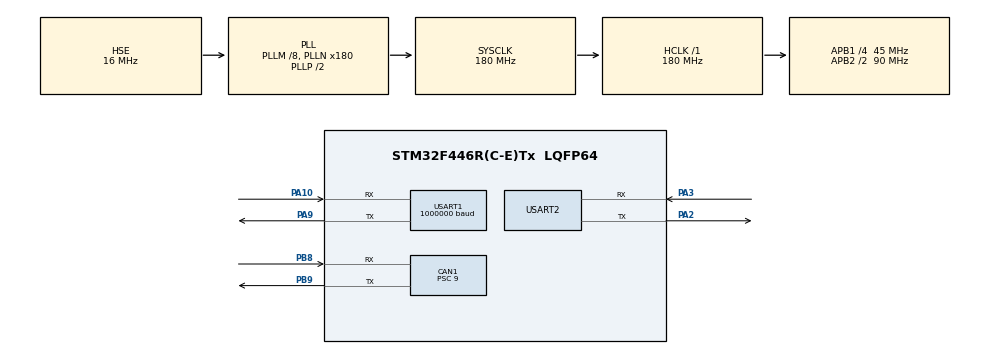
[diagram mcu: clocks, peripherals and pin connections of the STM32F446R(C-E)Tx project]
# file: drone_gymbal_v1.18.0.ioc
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CAN1.BS1=CAN_BS1_3TQ
CAN1.CalculateTimeBit=1000
CAN1.CalculateTimeQuantum=200.0
CAN1.Prescaler=9
Mcu.Family=STM32F4
Mcu.Name=STM32F446R(C-E)Tx
Mcu.Package=LQFP64
NVIC.CAN1_RX0_IRQn=true\:0\:0\:false\:false\:true\:true
NVIC.PriorityGroup=NVIC_PRIORITYGROUP_4
NVIC.RCC_IRQn=true\:0\:0\:false\:false\:true\:true
NVIC.TIM6_DAC_IRQn=true\:0\:0\:false\:false\:true\:true
NVIC.TIM7_IRQn=true\:0\:0\:false\:false\:true\:true
NVIC.USART1_IRQn=true\:0\:0\:false\:false\:true\:true
NVIC.USART2_IRQn=true\:0\:0\:false\:false\:true\:true
PA10.Mode=Asynchronous
PA10.Signal=USART1_RX
PA13.Mode=Serial_Wire
PA13.Signal=SYS_JTMS-SWDIO
PA14.Mode=Serial_Wire
PA14.Signal=SYS_JTCK-SWCLK
PA2.Mode=Asynchronous
PA2.Signal=USART2_TX
PA3.Mode=Asynchronous
PA3.Signal=USART2_RX
PA9.Mode=Asynchronous
PA9.Signal=USART1_TX
PB8.Mode=Master
PB8.Signal=CAN1_RX
PB9.Mode=Master
PB9.Signal=CAN1_TX
PH0-OSC_IN.Mode=HSE-External-Oscillator
PH0-OSC_IN.Signal=RCC_OSC_IN
PH1-OSC_OUT.Mode=HSE-External-Oscillator
PH1-OSC_OUT.Signal=RCC_OSC_OUT
ProjectManager.HeapSize=0x200
ProjectManager.StackSize=0x400
ProjectManager.TargetToolchain=TrueSTUDIO
RCC.AHBFreq_Value=180000000
RCC.APB1CLKDivider=RCC_HCLK_DIV4
RCC.APB1Freq_Value=45000000
RCC.APB1TimFreq_Value=90000000
RCC.APB2CLKDivider=RCC_HCLK_DIV2
RCC.APB2Freq_Value=90000000
RCC.APB2TimFreq_Value=180000000
RCC.CortexFreq_Value=180000000
RCC.HCLKFreq_Value=180000000
RCC.HSE_VALUE=16000000
RCC.PLLM=8
RCC.PLLN=180
RCC.PLLSourceVirtual=RCC_PLLSOURCE_HSE
RCC.SYSCLKFreq_VALUE=180000000
RCC.SYSCLKSource=RCC_SYSCLKSOURCE_PLLCLK
RCC.USBFreq_Value=180000000
RCC.VCOOutputFreq_Value=360000000
TIM6.Period=9
TIM6.Prescaler=89
TIM7.Period=4000
TIM7.Prescaler=900
USART1.BaudRate=1000000
USART1.VirtualMode=VM_ASYNC
USART2.VirtualMode=VM_ASYNC
VP_TIM6_VS_ClockSourceINT.Mode=Enable_Timer
VP_TIM7_VS_ClockSourceINT.Mode=Enable_Timer
board=_00_capstone

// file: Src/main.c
/**
  ******************************************************************************
  * File Name          : main.c
  * Description        : Main program body
  ******************************************************************************
  ** This notice applies to any and all portions of this file
  * that are not between comment pairs USER CODE BEGIN and
  * USER CODE END. Other portions of this file, whether
  * inserted by the user or by software development tools
  * are owned by their respective copyright owners.
  *
  * COPYRIGHT(c) 2019 STMicroelectronics
  *
  * Redistribution and use in source and binary forms, with or without modification,
  * are permitted provided that the following conditions are met:
  *   1. Redistributions of source code must retain the above copyright notice,
  *      this list of conditions and the following disclaimer.
  *   2. Redistributions in binary form must reproduce the above copyright notice,
  *      this list of conditions and the following disclaimer in the documentation
  *      and/or other materials provided with the distribution.
  *   3. Neither the name of STMicroelectronics nor the names of its contributors
  *      may be used to endorse or promote products derived from this software
  *      without specific prior written permission.
  *
  * THIS SOFTWARE IS PROVIDED BY THE COPYRIGHT HOLDERS AND CONTRIBUTORS "AS IS"
  * AND ANY EXPRESS OR IMPLIED WARRANTIES, INCLUDING, BUT NOT LIMITED TO, THE
  * IMPLIED WARRANTIES OF MERCHANTABILITY AND FITNESS FOR A PARTICULAR PURPOSE ARE
  * DISCLAIMED. IN NO EVENT SHALL THE COPYRIGHT HOLDER OR CONTRIBUTORS BE LIABLE
  * FOR ANY DIRECT, INDIRECT, INCIDENTAL, SPECIAL, EXEMPLARY, OR CONSEQUENTIAL
  * DAMAGES (INCLUDING, BUT NOT LIMITED TO, PROCUREMENT OF SUBSTITUTE GOODS OR
  * SERVICES; LOSS OF USE, DATA, OR PROFITS; OR BUSINESS INTERRUPTION) HOWEVER
  * CAUSED AND ON ANY THEORY OF LIABILITY, WHETHER IN CONTRACT, STRICT LIABILITY,
  * OR TORT (INCLUDING NEGLIGENCE OR OTHERWISE) ARISING IN ANY WAY OUT OF THE USE
  * OF THIS SOFTWARE, EVEN IF ADVISED OF THE POSSIBILITY OF SUCH DAMAGE.
  *
  ******************************************************************************
  */

#include "main.h"
#include "stm32f4xx_hal.h"
#include "MW-AHRSv1.h"

/* USER CODE BEGIN Includes */

#define AX_WRITE_DATA  3
/* USER CODE END Includes */

CAN_HandleTypeDef hcan1;

TIM_HandleTypeDef htim6;
TIM_HandleTypeDef htim7;

UART_HandleTypeDef huart1;
UART_HandleTypeDef huart2;

/* USER CODE BEGIN PV */
/* Private variables ---------------------------------------------------------*/
CanTxMsgTypeDef txMessage;
CanRxMsgTypeDef rxMessage;

MW_AHRS ahrs_obj = {0, };

/* USER CODE END PV */

void SystemClock_Config(void);
static void MX_GPIO_Init(void);
static void MX_CAN1_Init(void);
static void MX_TIM6_Init(void);
static void MX_TIM7_Init(void);
static void MX_USART1_UART_Init(void);
static void MX_USART2_UART_Init(void);

/* USER CODE BEGIN PFP */
/* Private function prototypes -----------------------------------------------*/
void can1_tx(void);
void can_init_user(void);

void mw_ahrsv1_trans(void);
void mw_ahrsv1_rcv(void);

void ax12_SetRegister(uint8_t id, uint8_t regstart, uint16_t data);
uint8_t sendData[100] = { 0, };

float yaw_data;
float roll_data;
float pitch_data;
/* USER CODE END PFP */

int main(void)
{

  /* MCU Configuration----------------------------------------------------------*/

  /* Reset of all peripherals, Initializes the Flash interface and the Systick. */
  HAL_Init();

  /* Configure the system clock */
  SystemClock_Config();

  /* Initialize all configured peripherals */
  MX_GPIO_Init();
  MX_CAN1_Init();
  MX_TIM6_Init();
  MX_TIM7_Init();
  MX_USART1_UART_Init();
  MX_USART2_UART_Init();

  /* USER CODE BEGIN 2 */
  /* can filter settting */
  can_init_user();

  /* mw-ahrsv1 start function */
  mw_ahrsv1_trans();

  HAL_CAN_Receive_IT(&hcan1, CAN_FIFO0);

  uint32_t now_tick = 0;
  uint32_t past_tick = 0;
  /* USER CODE END 2 */

  /* Infinite loop */
  while (1)
  {

  /* USER CODE BEGIN 3 */

		yaw_data = ahrs_obj.e_yaw;
		if(yaw_data <= -150){
			yaw_data = -150;
		}
		else if(yaw_data >= 200){
			yaw_data = 200;
		}

		roll_data = ahrs_obj.e_roll;
		if(roll_data <= -150){
			roll_data = -150;
		}
		else if(roll_data >= 200){
			roll_data = 200;
		}

		pitch_data = ahrs_obj.e_pitch;
		if(pitch_data <= -150){
			pitch_data = -150;
		}
		else if(pitch_data >= 200){
			pitch_data = 200;
		}

		ax12_SetRegister(1, 30, 512-(yaw_data*3.4));
		HAL_UART_Transmit(&huart1, sendData, 9, 0xFF);
		ax12_SetRegister(1, 32, 512);
		HAL_UART_Transmit(&huart1, sendData, 9, 0xFF);

		ax12_SetRegister(3, 30, 512-(roll_data*3.4));
		HAL_UART_Transmit(&huart1, sendData, 9, 0xFF);
		ax12_SetRegister(3, 32, 150);
		HAL_UART_Transmit(&huart1, sendData, 9, 0xFF);

		ax12_SetRegister(2, 30, 512+(pitch_data*3.4));
		HAL_UART_Transmit(&huart1, sendData, 9, 0xFF);
		ax12_SetRegister(2, 32, 150);
		HAL_UART_Transmit(&huart1, sendData, 9, 0xFF);

	  now_tick = HAL_GetTick();
	  if(now_tick - past_tick >= 1000)
	  {
		  //1 sec

		  past_tick = now_tick;
	  }
  }
  /* USER CODE END 3 */

}

/** System Clock Configuration
*/
void SystemClock_Config(void)
{

  RCC_OscInitTypeDef RCC_OscInitStruct;
  RCC_ClkInitTypeDef RCC_ClkInitStruct;

    /**Configure the main internal regulator output voltage
    */
  __HAL_RCC_PWR_CLK_ENABLE();

  __HAL_PWR_VOLTAGESCALING_CONFIG(PWR_REGULATOR_VOLTAGE_SCALE1);

    /**Initializes the CPU, AHB and APB busses clocks
    */
  RCC_OscInitStruct.OscillatorType = RCC_OSCILLATORTYPE_HSE;
  RCC_OscInitStruct.HSEState = RCC_HSE_ON;
  RCC_OscInitStruct.PLL.PLLState = RCC_PLL_ON;
  RCC_OscInitStruct.PLL.PLLSource = RCC_PLLSOURCE_HSE;
  RCC_OscInitStruct.PLL.PLLM = 8;
  RCC_OscInitStruct.PLL.PLLN = 180;
  RCC_OscInitStruct.PLL.PLLP = RCC_PLLP_DIV2;
  RCC_OscInitStruct.PLL.PLLQ = 2;
  RCC_OscInitStruct.PLL.PLLR = 2;
  if (HAL_RCC_OscConfig(&RCC_OscInitStruct) != HAL_OK)
  {
    _Error_Handler(__FILE__, __LINE__);
  }

    /**Activate the Over-Drive mode
    */
  if (HAL_PWREx_EnableOverDrive() != HAL_OK)
  {
    _Error_Handler(__FILE__, __LINE__);
  }

    /**Initializes the CPU, AHB and APB busses clocks
    */
  RCC_ClkInitStruct.ClockType = RCC_CLOCKTYPE_HCLK|RCC_CLOCKTYPE_SYSCLK
                              |RCC_CLOCKTYPE_PCLK1|RCC_CLOCKTYPE_PCLK2;
  RCC_ClkInitStruct.SYSCLKSource = RCC_SYSCLKSOURCE_PLLCLK;
  RCC_ClkInitStruct.AHBCLKDivider = RCC_SYSCLK_DIV1;
  RCC_ClkInitStruct.APB1CLKDivider = RCC_HCLK_DIV4;
  RCC_ClkInitStruct.APB2CLKDivider = RCC_HCLK_DIV2;

  if (HAL_RCC_ClockConfig(&RCC_ClkInitStruct, FLASH_LATENCY_5) != HAL_OK)
  {
    _Error_Handler(__FILE__, __LINE__);
  }

    /**Configure the Systick interrupt time
    */
  HAL_SYSTICK_Config(HAL_RCC_GetHCLKFreq()/1000);

    /**Configure the Systick
    */
  HAL_SYSTICK_CLKSourceConfig(SYSTICK_CLKSOURCE_HCLK);

  /* SysTick_IRQn interrupt configuration */
  HAL_NVIC_SetPriority(SysTick_IRQn, 0, 0);
}

/* CAN1 init function */
static void MX_CAN1_Init(void)
{

  hcan1.Instance = CAN1;
  hcan1.Init.Prescaler = 9;
  hcan1.Init.Mode = CAN_MODE_NORMAL;
  hcan1.Init.SJW = CAN_SJW_1TQ;
  hcan1.Init.BS1 = CAN_BS1_3TQ;
  hcan1.Init.BS2 = CAN_BS2_1TQ;
  hcan1.Init.TTCM = DISABLE;
  hcan1.Init.ABOM = DISABLE;
  hcan1.Init.AWUM = DISABLE;
  hcan1.Init.NART = DISABLE;
  hcan1.Init.RFLM = DISABLE;
  hcan1.Init.TXFP = DISABLE;
  if (HAL_CAN_Init(&hcan1) != HAL_OK)
  {
    _Error_Handler(__FILE__, __LINE__);
  }

}

/* TIM6 init function */
static void MX_TIM6_Init(void)
{

  TIM_MasterConfigTypeDef sMasterConfig;

  htim6.Instance = TIM6;
  htim6.Init.Prescaler = 89;
  htim6.Init.CounterMode = TIM_COUNTERMODE_UP;
  htim6.Init.Period = 9;
  if (HAL_TIM_Base_Init(&htim6) != HAL_OK)
  {
    _Error_Handler(__FILE__, __LINE__);
  }

  sMasterConfig.MasterOutputTrigger = TIM_TRGO_RESET;
  sMasterConfig.MasterSlaveMode = TIM_MASTERSLAVEMODE_DISABLE;
  if (HAL_TIMEx_MasterConfigSynchronization(&htim6, &sMasterConfig) != HAL_OK)
  {
    _Error_Handler(__FILE__, __LINE__);
  }

}

/* TIM7 init function */
static void MX_TIM7_Init(void)
{

  TIM_MasterConfigTypeDef sMasterConfig;

  htim7.Instance = TIM7;
  htim7.Init.Prescaler = 900;
  htim7.Init.CounterMode = TIM_COUNTERMODE_UP;
  htim7.Init.Period = 4000;
  if (HAL_TIM_Base_Init(&htim7) != HAL_OK)
  {
    _Error_Handler(__FILE__, __LINE__);
  }

  sMasterConfig.MasterOutputTrigger = TIM_TRGO_RESET;
  sMasterConfig.MasterSlaveMode = TIM_MASTERSLAVEMODE_DISABLE;
  if (HAL_TIMEx_MasterConfigSynchronization(&htim7, &sMasterConfig) != HAL_OK)
  {
    _Error_Handler(__FILE__, __LINE__);
  }

}

/* USART1 init function */
static void MX_USART1_UART_Init(void)
{

  huart1.Instance = USART1;
  huart1.Init.BaudRate = 1000000;
  huart1.Init.WordLength = UART_WORDLENGTH_8B;
  huart1.Init.StopBits = UART_STOPBITS_1;
  huart1.Init.Parity = UART_PARITY_NONE;
  huart1.Init.Mode = UART_MODE_TX_RX;
  huart1.Init.HwFlowCtl = UART_HWCONTROL_NONE;
  huart1.Init.OverSampling = UART_OVERSAMPLING_16;
  if (HAL_UART_Init(&huart1) != HAL_OK)
  {
    _Error_Handler(__FILE__, __LINE__);
  }

}

/* USART2 init function */
static void MX_USART2_UART_Init(void)
{

  huart2.Instance = USART2;
  huart2.Init.BaudRate = 115200;
  huart2.Init.WordLength = UART_WORDLENGTH_8B;
  huart2.Init.StopBits = UART_STOPBITS_1;
  huart2.Init.Parity = UART_PARITY_NONE;
  huart2.Init.Mode = UART_MODE_TX_RX;
  huart2.Init.HwFlowCtl = UART_HWCONTROL_NONE;
  huart2.Init.OverSampling = UART_OVERSAMPLING_16;
  if (HAL_UART_Init(&huart2) != HAL_OK)
  {
    _Error_Handler(__FILE__, __LINE__);
  }

}

/** Configure pins as
        * Analog
        * Input
        * Output
        * EVENT_OUT
        * EXTI
*/
static void MX_GPIO_Init(void)
{

  /* GPIO Ports Clock Enable */
  __HAL_RCC_GPIOH_CLK_ENABLE();
  __HAL_RCC_GPIOA_CLK_ENABLE();
  __HAL_RCC_GPIOB_CLK_ENABLE();

}

/* USER CODE BEGIN 4 */
void ax12_SetRegister(uint8_t id, uint8_t regstart, uint16_t data) {
	sendData[0] = 0xFF;
	sendData[1] = 0xFF;
	sendData[2] = id;
	sendData[3] = 5;
	sendData[4] = AX_WRITE_DATA;
	sendData[5] = regstart;
	sendData[6] = (data & 0xFF);
	sendData[7] = (data & 0xFF00) >> 8;
	sendData[8] = (0xFF
			- ((id + 5 + AX_WRITE_DATA + regstart + (data & 0xFF)
					+ ((data & 0xFF00) >> 8)) % 256));

}

void HAL_CAN_RxCpltCallback(CAN_HandleTypeDef* hcan)
{
  for(int i=0; i<8; i++)
  {
    ahrs_obj.can_read_data[i] = rxMessage.Data[i];
  }

  mw_ahrs_input_data(&ahrs_obj);

  if (HAL_CAN_Receive_IT(hcan, CAN_FIFO0) != HAL_OK)
  {
    Error_Handler();
  }
}
void mw_ahrsv1_trans(void)
{
	int i = 0;
	mw_ahrs_set_period(&ahrs_obj, 1);
	HAL_CAN_Transmit(&hcan1, 10);
	mw_ahrs_set_data_type(&ahrs_obj, 0, 0, 1, 1);
	HAL_CAN_Transmit(&hcan1, 10);

	for(i=0; i<8; i++)
	{
	txMessage.Data[i] = ahrs_obj.can_write_data[i];
	}

	HAL_CAN_Transmit(&hcan1, 10);
}
void can_init_user(void)
{
	CAN_FilterConfTypeDef canFilter;

	hcan1.pTxMsg = &txMessage;
	hcan1.pRxMsg = &rxMessage;

	canFilter.FilterNumber = 0;
	canFilter.FilterMode = CAN_FILTERMODE_IDMASK;
	canFilter.FilterScale = CAN_FILTERSCALE_32BIT;
	canFilter.FilterIdHigh = 0x0000 << 5;
	canFilter.FilterIdLow = 0x0000;
	canFilter.FilterMaskIdHigh = 0x0000 << 5;
	canFilter.FilterMaskIdLow = 0x0000;
	canFilter.FilterFIFOAssignment = 0;
	canFilter.FilterActivation = ENABLE;
	canFilter.BankNumber = 0;

	if(HAL_CAN_ConfigFilter(&hcan1, &canFilter) != HAL_OK)
	{
		Error_Handler();
	}

	txMessage.StdId = 0x01;
	txMessage.ExtId = 0x01;
	txMessage.RTR = CAN_RTR_DATA;
	txMessage.IDE = CAN_ID_STD;
	txMessage.DLC = 8;
}
/* USER CODE END 4 */

void _Error_Handler(char * file, int line)
{
  while(1)
  {
  }
}

/************************ (C) COPYRIGHT STMicroelectronics *****END OF FILE****/
